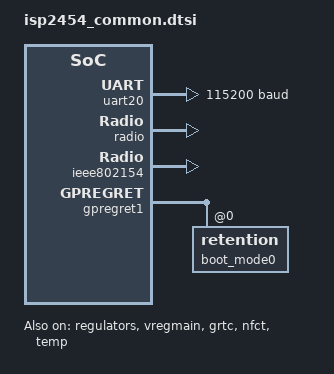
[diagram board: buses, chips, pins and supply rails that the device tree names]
/*
 * Copyright (c) 2026 Ma Compagnie
 * SPDX-License-Identifier: Apache-2.0
 *
 * Commun aux modules ISP2454-LX et ISP2454-LP, secure et non-secure.
 * Le dtsi du SoC est inclus par chaque .dts (il diffère entre secure et ns).
 */

#include "isp2454-pinctrl.dtsi"

/ {
	chosen {
		zephyr,console = &uart20;
		zephyr,shell-uart = &uart20;
		zephyr,uart-mcumgr = &uart20;
		zephyr,bt-mon-uart = &uart20;
		zephyr,bt-c2h-uart = &uart20;
		zephyr,flash-controller = &rram_controller;
		zephyr,flash = &cpuapp_rram;
		zephyr,ieee802154 = &ieee802154;
		zephyr,boot-mode = &boot_mode0;
	};
};

&cpuapp_sram {
	status = "okay";
};

/* DK : 17000 fF. À adapter aux quartz du module ISP2454. */
&lfxo {
	load-capacitors = "internal";
	load-capacitance-femtofarad = <15500>;
};

&hfxo {
	load-capacitors = "internal";
	load-capacitance-femtofarad = <15000>;
};

&regulators {
	status = "okay";
};

&vregmain {
	status = "okay";
	regulator-initial-mode = <NRF5X_REG_MODE_DCDC>;
};

&grtc {
	owned-channels = <0 1 2 3 4 5 6 7 8 9 10 11>;
	/* Channels 7-11 reserved for Zero Latency IRQs, 3-4 for FLPR */
	child-owned-channels = <3 4 7 8 9 10 11>;
	status = "okay";
};

&uart20 {
	status = "okay";
	current-speed = <115200>;
	pinctrl-0 = <&uart20_default>;
	pinctrl-1 = <&uart20_sleep>;
	pinctrl-names = "default", "sleep";
};

&gpio0 {
	status = "okay";
};

&gpio1 {
	status = "okay";
};

&gpio2 {
	status = "okay";
};

&gpiote20 {
	status = "okay";
};

&gpiote30 {
	status = "okay";
};

&radio {
	status = "okay";
};

&nfct {
	status = "okay";
};

&ieee802154 {
	status = "okay";
};

&temp {
	status = "okay";
};

&clock {
	status = "okay";
};

&gpregret1 {
	status = "okay";

	boot_mode0: boot_mode@0 {
		compatible = "zephyr,retention";
		status = "okay";
		reg = <0x0 0x1>;
	};
};
